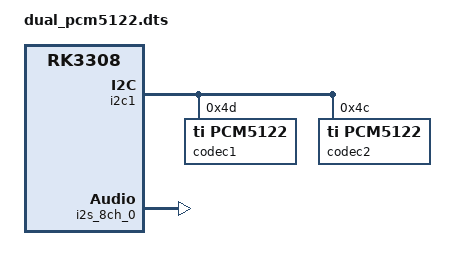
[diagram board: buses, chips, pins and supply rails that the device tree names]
/dts-v1/;
/plugin/;

/ {
        compatible = "radxa,rockpis", "rockchip,rk3308";

	fragment@0 {
		target = <&i2c1>;
		__overlay__ {
			#address-cells = <1>;
			#size-cells = <0>;
			status = "okay";

			codec1: pcm5122@4d {
				#sound-dai-cells = <0>;
				compatible = "ti,pcm5122";
				reg = <0x4d>;
				status = "okay";
			};

                	codec2: pcm5122@4c {
				#sound-dai-cells = <0>;
				compatible = "ti,pcm5122";
				reg = <0x4c>;
				status = "okay";
			};
		};
	};

        fragment@1 {
                target = <&i2s_8ch_0>;

                __overlay__ {
                        status = "okay";
                };
        };

        fragment@2 {
                target = <&i2s_8ch_2>;

                __overlay__ {
                        status = "disabled";
                };
        };

        fragment@3 {
                target-path = "/";

                __overlay__ {
                    sound {
                        compatible = "rockchip,multicodecs-card";
                        rockchip,card-name = "GDis_DAC";
                        rockchip,mclk-fs = <256>;
                        rockchip,cpu = <&i2s_8ch_0>;
                        rockchip,codec = <&codec1 &codec2>;
                        };
                };
        };
};
